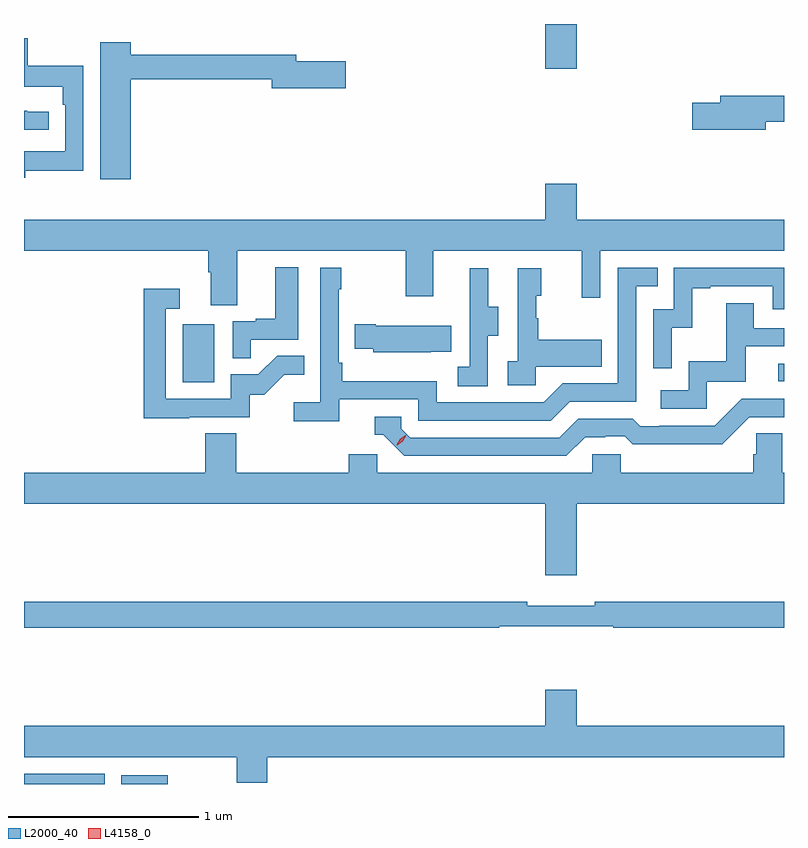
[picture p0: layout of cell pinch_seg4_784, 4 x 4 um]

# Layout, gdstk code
import gdstk
lib = gdstk.Library(unit=1e-6, precision=1e-09)
def R(c, l, rs):  # rectangles x0, y0, x1, y1
    for r in rs: c.add(gdstk.rectangle(r[:2], r[2:], *l))
def P(c, l, *ps):  # polygons
    for p in ps: c.add(gdstk.Polygon(p, *l))
L2000_40 = (2000, 40)
L4158_0 = (4158, 0)

pinch_seg4_784 = lib.new_cell('pinch_seg4_784')
R(pinch_seg4_784, L2000_40, [(821.604,824.65,822.03,824.703), (822.115,824.65,822.361,824.697), (822.44,826.764,822.604,827.071), (825.573,826.77,825.604,826.863), (824.348,828.414,824.512,828.65)])
P(pinch_seg4_784, L2000_40, [(821.611,827.878),(821.916,827.878),(821.916,828.43),(821.623,828.43),(821.623,828.576),(821.604,828.576),(821.604,828.32),(821.807,828.32),(821.807,828.224),(821.82,828.224),(821.82,827.979),(821.604,827.979),(821.604,827.84),(821.611,827.84)],
  [(822.166,828.358),(822.908,828.358),(822.908,828.311),(823.297,828.311),(823.297,828.453),(823.036,828.453),(823.036,828.487),(822.166,828.487),(822.166,828.553),(822.005,828.553),(822.005,827.832),(822.166,827.832)],
  [(825.508,828.136),(825.604,828.136),(825.604,828.272),(825.269,828.272),(825.269,828.236),(825.12,828.236),(825.12,828.094),(825.508,828.094)],
  [(821.734,828.189),(821.621,828.189),(821.621,828.194),(821.604,828.194),(821.604,828.093),(821.734,828.093)],
  [(822.727,827.456),(823.612,827.456),(823.612,827.217),(823.759,827.217),(823.759,827.456),(824.54,827.456),(824.54,827.208),(824.637,827.208),(824.637,827.456),(825.604,827.456),(825.604,827.62),(824.512,827.62),(824.512,827.809),(824.348,827.809),(824.348,827.62),(821.604,827.62),(821.604,827.456),(822.575,827.456),(822.575,827.344),(822.587,827.344),(822.587,827.17),(822.727,827.17)],
  [(822.797,826.989),(823.048,826.989),(823.048,827.371),(822.926,827.371),(822.926,827.098),(822.823,827.098),(822.823,827.085),(822.702,827.085),(822.702,826.891),(822.797,826.891)],
  [(823.262,826.674),(823.68,826.674),(823.68,826.563),(824.377,826.563),(824.476,826.662),(824.826,826.662),(824.826,827.271),(824.939,827.271),(824.939,827.367),(824.73,827.367),(824.73,826.758),(824.439,826.758),(824.34,826.659),(823.776,826.659),(823.776,826.771),(823.28,826.771),(823.28,826.867),(823.26,826.867),(823.26,827.255),(823.273,827.255),(823.273,827.368),(823.164,827.368),(823.164,826.66),(823.023,826.66),(823.023,826.558),(823.262,826.558)],
  [(825.012,827.051),(825.122,827.051),(825.122,827.259),(825.217,827.259),(825.217,827.271),(825.546,827.271),(825.546,827.148),(825.604,827.148),(825.604,827.367),(825.024,827.367),(825.024,827.148),(824.916,827.148),(824.916,826.839),(825.012,826.839)],
  [(824.046,827.008),(824.101,827.008),(824.101,827.163),(824.047,827.163),(824.047,827.365),(823.949,827.365),(823.949,827.151),(823.95,827.151),(823.95,826.847),(823.887,826.847),(823.887,826.744),(824.046,826.744)],
  [(824.298,826.847),(824.645,826.847),(824.645,826.987),(824.311,826.987),(824.311,827.102),(824.301,827.102),(824.301,827.22),(824.326,827.22),(824.326,827.365),(824.202,827.365),(824.202,826.874),(824.151,826.874),(824.151,826.749),(824.298,826.749)],
  [(822.473,826.581),(822.792,826.581),(822.792,826.698),(822.868,826.698),(822.975,826.805),(823.079,826.805),(823.079,826.904),(822.936,826.904),(822.838,826.806),(822.693,826.806),(822.693,826.677),(822.351,826.677),(822.351,827.151),(822.424,827.151),(822.424,827.257),(822.235,827.257),(822.235,826.576),(822.473,826.576)],
  [(825.198,826.767),(825.403,826.767),(825.403,826.953),(825.604,826.953),(825.604,827.049),(825.445,827.049),(825.445,827.179),(825.301,827.179),(825.301,826.876),(825.102,826.876),(825.102,826.722),(824.955,826.722),(824.955,826.626),(825.198,826.626)],
  [(823.745,826.925),(823.853,826.925),(823.853,827.062),(823.456,827.062),(823.456,827.07),(823.345,827.07),(823.345,826.94),(823.443,826.94),(823.443,826.922),(823.745,826.922)],
  [(824.557,826.476),(824.664,826.476),(824.664,826.479),(824.767,826.479),(824.809,826.437),(825.042,826.437),(825.042,826.439),(825.278,826.439),(825.42,826.581),(825.604,826.581),(825.604,826.677),(825.381,826.677),(825.24,826.536),(824.947,826.536),(824.947,826.533),(824.848,826.533),(824.809,826.572),(824.52,826.572),(824.421,826.473),(823.638,826.473),(823.59,826.521),(823.59,826.584),(823.451,826.584),(823.451,826.488),(823.494,826.488),(823.605,826.377),(824.458,826.377)],
  [(824.512,826.124),(825.604,826.124),(825.604,826.288),(825.594,826.288),(825.594,826.496),(825.457,826.496),(825.457,826.386),(825.443,826.386),(825.443,826.288),(824.745,826.288),(824.745,826.386),(824.595,826.386),(824.595,826.288),(823.464,826.288),(823.464,826.386),(823.313,826.386),(823.313,826.288),(822.722,826.288),(822.722,826.496),(822.557,826.496),(822.557,826.288),(821.604,826.288),(821.604,826.124),(824.348,826.124),(824.348,825.75),(824.512,825.75)],
  [(824.104,825.48),(824.704,825.48),(824.704,825.472),(825.604,825.472),(825.604,825.608),(824.608,825.608),(824.608,825.589),(824.252,825.589),(824.252,825.608),(821.604,825.608),(821.604,825.472),(824.104,825.472)],
  [(822.884,824.792),(825.604,824.792),(825.604,824.956),(824.512,824.956),(824.512,825.145),(824.348,825.145),(824.348,824.956),(821.604,824.956),(821.604,824.792),(822.724,824.792),(822.724,824.657),(822.884,824.657)])
P(pinch_seg4_784, L4158_0, [(823.567,826.434),(823.567,826.435),(823.584,826.467),(823.614,826.486),(823.615,826.486),(823.615,826.486),(823.598,826.454),(823.568,826.434)])

lib.write_gds('pinch_seg4_784.gds')
